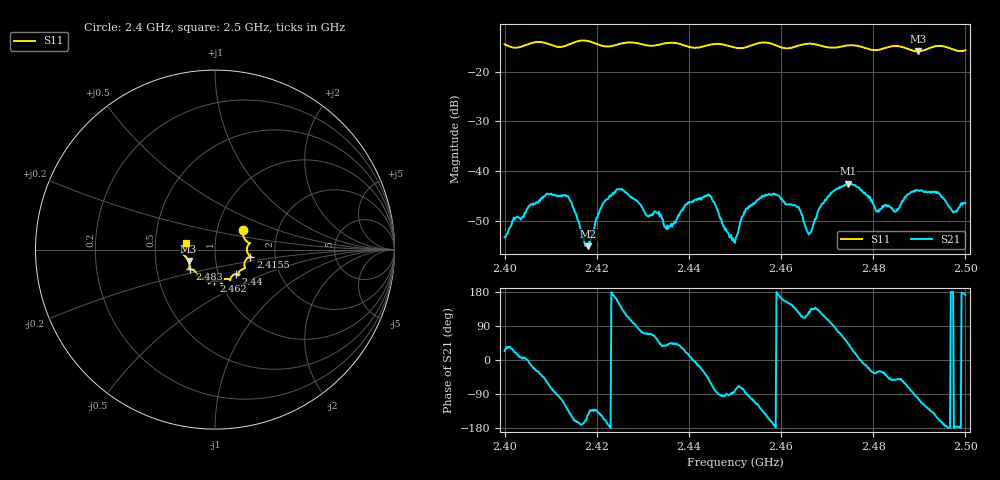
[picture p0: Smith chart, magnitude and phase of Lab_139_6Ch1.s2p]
# Hz S RI R 50
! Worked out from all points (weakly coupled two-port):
!   601 points, 2.4 GHz to 2.5 GHz, reference 50 ohm
!   highest |S21| = -42.54 dB at 2.4745 GHz (marker M1); lowest = -55.1 dB at 2.4182 GHz (marker M2)
!   lowest |S11| = -15.9 dB at 2.4897 GHz (marker M3), VSWR 1.38, Z = 36.9 - j4.83 ohm
!   |S11| at or under -10 dB: start of sweep to end of sweep
!   S12 and S22 are empty: the file has one direction only
!   S11 on the Smith chart (normalised r, x): 2.4 GHz: 1.33, +0.29; 2.4155 GHz: 1.48, -0.12; 2.44 GHz: 1.21, -0.34; 2.462 GHz: 0.93, -0.33; 2.483 GHz: 0.74, -0.17; 2.5 GHz: 0.72, +0.06
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2.4e9  0.1558 0.1065  0.00197 0.000867  0 0  0 0
2.409333e9  0.1892 0.0317  0.00292 -0.00517  0 0  0 0
2.4135e9  0.1832 -0.0215  -0.00336 -0.00445  0 0  0 0
2.4155e9  0.1971 -0.0391  -0.0035 -0.00113  0 0  0 0
2.416667e9  0.202 -0.0423  -0.0023 -0.000384  0 0  0 0
2.418167e9  0.1991 -0.0414  -0.00142 -0.00103  0 0  0 0
2.421167e9  0.1742 -0.0548  -0.00383 -0.00235  0 0  0 0
2.424667e9  0.164 -0.0937  -0.00577 0.00309  0 0  0 0
2.433333e9  0.1307 -0.1335  0.00244 0.0028  0 0  0 0
2.4355e9  0.1315 -0.144  0.00194 0.00175  0 0  0 0
2.44e9  0.1142 -0.1364  0.00469 0.001  0 0  0 0
2.4445e9  0.085 -0.1663  0.00315 -0.00475  0 0  0 0
2.45e9  0.0647 -0.1626  0.000307 -0.00186  0 0  0 0
2.455667e9  0.0376 -0.1927  -0.00345 -0.00411  0 0  0 0
2.462e9  -0.00515 -0.1732  -0.00387 0.00253  0 0  0 0
2.466667e9  -0.0346 -0.1881  -0.00179 0.00187  0 0  0 0
2.47e9  -0.048 -0.1699  -0.00154 0.00518  0 0  0 0
2.4745e9  -0.0905 -0.1603  0.00542 0.00512  0 0  0 0
2.483e9  -0.1375 -0.1094  0.0032 -0.00307  0 0  0 0
2.483333e9  -0.1399 -0.1092  0.00295 -0.00328  0 0  0 0
2.489667e9  -0.1471 -0.0637  -0.00106 -0.00632  0 0  0 0
2.5e9  -0.1596 0.0389  -0.00469 0.000636  0 0  0 0
